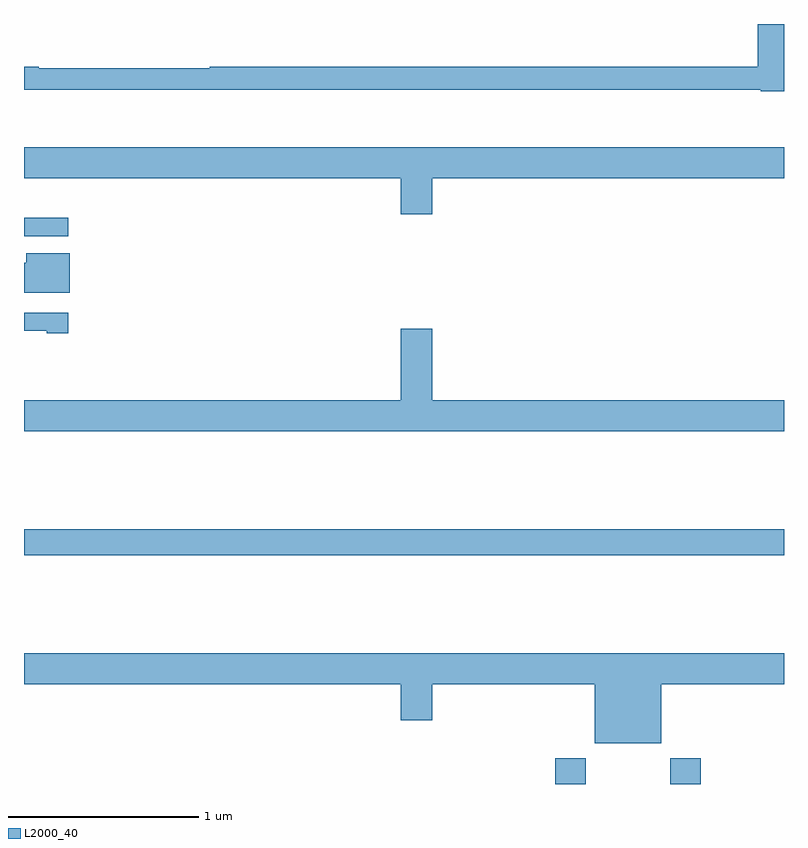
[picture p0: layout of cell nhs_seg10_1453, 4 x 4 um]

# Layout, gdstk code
import gdstk
lib = gdstk.Library(unit=1e-6, precision=1e-09)
def R(c, l, rs):  # rectangles x0, y0, x1, y1
    for r in rs: c.add(gdstk.rectangle(r[:2], r[2:], *l))
def P(c, l, *ps):  # polygons
    for p in ps: c.add(gdstk.Polygon(p, *l))
L2000_40 = (2000, 40)

nhs_seg10_1453 = lib.new_cell('nhs_seg10_1453')
R(nhs_seg10_1453, L2000_40, [(189.797,1258.5,189.957,1258.636), (190.402,1258.5,190.562,1258.636), (187,1259.704,191,1259.84), (187,1261.383,187.234,1261.479)])
P(nhs_seg10_1453, L2000_40, [(191,1262.5),(190.862,1262.5),(190.862,1262.275),(187.978,1262.275),(187.978,1262.267),(187.078,1262.267),(187.078,1262.275),(187,1262.275),(187,1262.154),(190.878,1262.154),(190.878,1262.146),(191,1262.146)],
  [(189.148,1261.688),(191,1261.688),(191,1261.852),(187,1261.852),(187,1261.688),(188.984,1261.688),(188.984,1261.5),(189.148,1261.5)],
  [(187.24,1261.294),(187.013,1261.294),(187.013,1261.243),(187,1261.243),(187,1261.085),(187.24,1261.085)],
  [(187.234,1260.981),(187,1260.981),(187,1260.885),(187.121,1260.885),(187.121,1260.873),(187.234,1260.873)],
  [(191,1260.52),(189.148,1260.52),(189.148,1260.895),(188.984,1260.895),(188.984,1260.52),(187,1260.52),(187,1260.356),(191,1260.356)],
  [(190.354,1259.024),(191,1259.024),(191,1259.188),(187,1259.188),(187,1259.024),(188.984,1259.024),(188.984,1258.836),(189.148,1258.836),(189.148,1259.024),(190.004,1259.024),(190.004,1258.715),(190.354,1258.715)])

lib.write_gds('nhs_seg10_1453.gds')
